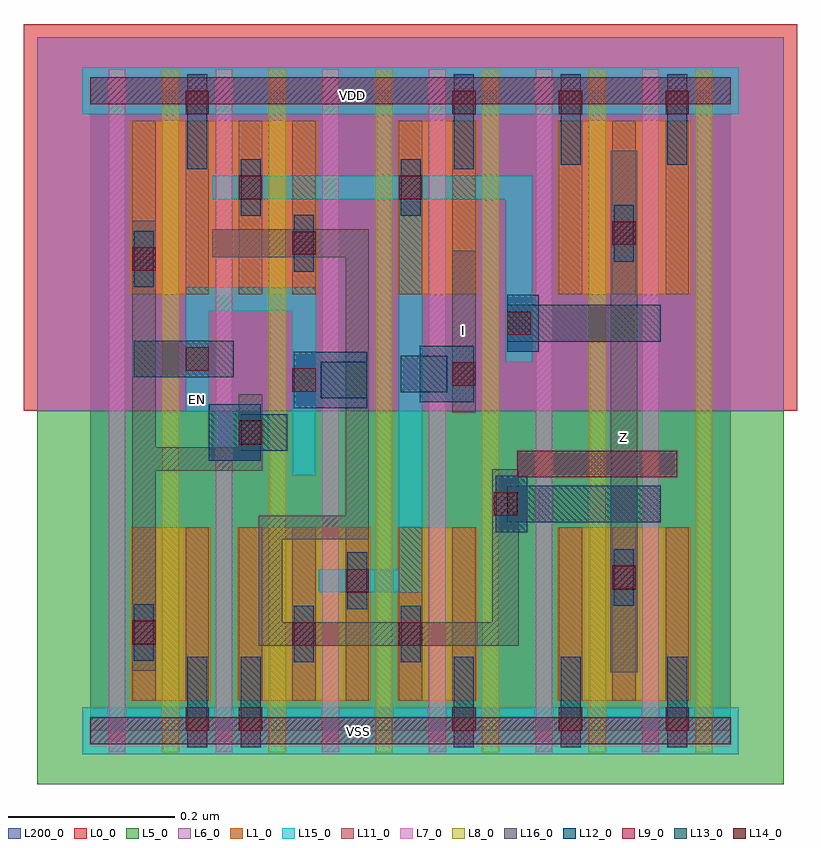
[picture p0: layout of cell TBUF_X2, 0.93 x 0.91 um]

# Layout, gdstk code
import gdstk
lib = gdstk.Library(unit=1e-6, precision=1e-09)
def R(c, l, rs):  # rectangles x0, y0, x1, y1
    for r in rs: c.add(gdstk.rectangle(r[:2], r[2:], *l))
def A(c, l, x, y, w, h, nx, ny, dx, dy):  # array of equal rectangles
    R(c, l, [(x+i*dx, y+j*dy, x+i*dx+w, y+j*dy+h) for i in range(nx) for j in range(ny)])
def P(c, l, *ps):  # polygons
    for p in ps: c.add(gdstk.Polygon(p, *l))
L0_0 = (0, 0)
L1_0 = (1, 0)
L5_0 = (5, 0)
L6_0 = (6, 0)
L7_0 = (7, 0)
L8_0 = (8, 0)
L9_0 = (9, 0)
L11_0 = (11, 0)
L12_0 = (12, 0)
L13_0 = (13, 0)
L14_0 = (14, 0)
L15_0 = (15, 0)
L16_0 = (16, 0)
L200_0 = (200, 0)

tbuf_x2 = lib.new_cell('TBUF_X2')
R(tbuf_x2, L0_0, [(-0.08,0.384,0.848,0.848)])
R(tbuf_x2, L1_0, [(0.048,0.036,0.144,0.244), (0.176,0.036,0.336,0.244), (0.368,0.036,0.464,0.244), (0.56,0.036,0.72,0.244), (0.048,0.524,0.272,0.732), (0.368,0.524,0.464,0.732), (0.56,0.524,0.72,0.732)])
R(tbuf_x2, L5_0, [(-0.064,-0.064,0.832,0.384)])
R(tbuf_x2, L6_0, [(-0.064,0.384,0.832,0.832)])
A(tbuf_x2, L7_0, 0.022, -0.026, 0.02, 0.82, 6, 1, 0.128, 0)
A(tbuf_x2, L8_0, 0.086, -0.026, 0.02, 0.82, 6, 1, 0.128, 0)
R(tbuf_x2, L9_0, [(0,-0.016,0.768,0.016), (0.512,0.304,0.704,0.336), (0,0.752,0.768,0.784)])
A(tbuf_x2, L11_0, 0.05, 0.036, 0.028, 0.208, 7, 1, 0.064, 0)
A(tbuf_x2, L11_0, 0.562, 0.036, 0.028, 0.208, 3, 2, 0.064, 0.488)
A(tbuf_x2, L11_0, 0.05, 0.524, 0.028, 0.208, 4, 1, 0.064, 0)
R(tbuf_x2, L11_0, [(0.37,0.524,0.398,0.732), (0.434,0.524,0.462,0.732)])
A(tbuf_x2, L12_0, 0.436, -0.02, 0.024, 0.109, 3, 1, 0.128, 0)
R(tbuf_x2, L12_0, [(0.116,-0.02,0.14,0.089), (0.18,-0.02,0.204,0.089), (0.244,0.082,0.268,0.15), (0.372,0.082,0.396,0.15), (0.052,0.084,0.076,0.152), (0.308,0.146,0.332,0.214), (0.628,0.15,0.652,0.218), (0.486,0.238,0.524,0.306), (0.142,0.324,0.204,0.392), (0.244,0.387,0.332,0.455), (0.395,0.394,0.46,0.462), (0.5,0.455,0.538,0.523), (0.052,0.532,0.076,0.6), (0.244,0.551,0.268,0.619), (0.628,0.563,0.652,0.631), (0.18,0.618,0.204,0.686), (0.372,0.618,0.396,0.686), (0.116,0.674,0.14,0.788), (0.436,0.674,0.46,0.788), (0.564,0.679,0.588,0.788), (0.692,0.679,0.716,0.788)])
R(tbuf_x2, L13_0, [(0.5,0.25,0.684,0.294), (0.18,0.336,0.236,0.38), (0.276,0.399,0.332,0.443), (0.372,0.406,0.428,0.45), (0.052,0.424,0.172,0.468), (0.5,0.467,0.684,0.511)])
A(tbuf_x2, L14_0, 0.434, 0, 0.028, 0.028, 3, 2, 0.128, 0.74)
R(tbuf_x2, L14_0, [(0.114,0,0.142,0.028), (0.178,0,0.206,0.028), (0.242,0.102,0.27,0.13), (0.37,0.102,0.398,0.13), (0.05,0.104,0.078,0.132), (0.306,0.166,0.334,0.194), (0.626,0.17,0.654,0.198), (0.484,0.258,0.512,0.286), (0.178,0.344,0.206,0.372), (0.242,0.407,0.27,0.435), (0.434,0.414,0.462,0.442), (0.114,0.432,0.142,0.46), (0.5,0.475,0.528,0.503), (0.05,0.552,0.078,0.58), (0.242,0.571,0.27,0.599), (0.626,0.583,0.654,0.611), (0.178,0.638,0.206,0.666), (0.37,0.638,0.398,0.666), (0.114,0.74,0.142,0.768)])
R(tbuf_x2, L15_0, [(-0.01,-0.028,0.778,0.028), (-0.01,0.74,0.778,0.796)])
P(tbuf_x2, L15_0, [(0.114,0.384),(0.142,0.384),(0.142,0.504),(0.242,0.504),(0.242,0.306),(0.27,0.306),(0.27,0.532),(0.114,0.532)],
  [(0.146,0.638),(0.37,0.638),(0.37,0.194),(0.274,0.194),(0.274,0.166),(0.398,0.166),(0.398,0.638),(0.498,0.638),(0.498,0.443),(0.53,0.443),(0.53,0.666),(0.146,0.666)])
R(tbuf_x2, L16_0, [(0.624,0.07,0.656,0.696), (0.434,0.382,0.462,0.576)])
P(tbuf_x2, L16_0, [(0.05,0.072),(0.078,0.072),(0.078,0.312),(0.206,0.312),(0.206,0.404),(0.178,0.404),(0.178,0.34),(0.078,0.34),(0.078,0.612),(0.05,0.612)],
  [(0.146,0.568),(0.306,0.568),(0.306,0.258),(0.202,0.258),(0.202,0.102),(0.514,0.102),(0.514,0.314),(0.482,0.314),(0.482,0.13),(0.23,0.13),(0.23,0.23),(0.334,0.23),(0.334,0.602),(0.146,0.602)])
R(tbuf_x2, L200_0, [(0,0,0.768,0.768)])
tbuf_x2.add(gdstk.Label('VSS', (0.322,-0.001), layer=15, texttype=20))
tbuf_x2.add(gdstk.Label('EN', (0.128,0.398), layer=15, texttype=20))
tbuf_x2.add(gdstk.Label('VDD', (0.314,0.762), layer=15, texttype=20))
tbuf_x2.add(gdstk.Label('Z', (0.64,0.352), layer=16, texttype=20))
tbuf_x2.add(gdstk.Label('I', (0.448,0.48), layer=16, texttype=20))

lib.write_gds('TBUF_X2.gds')
